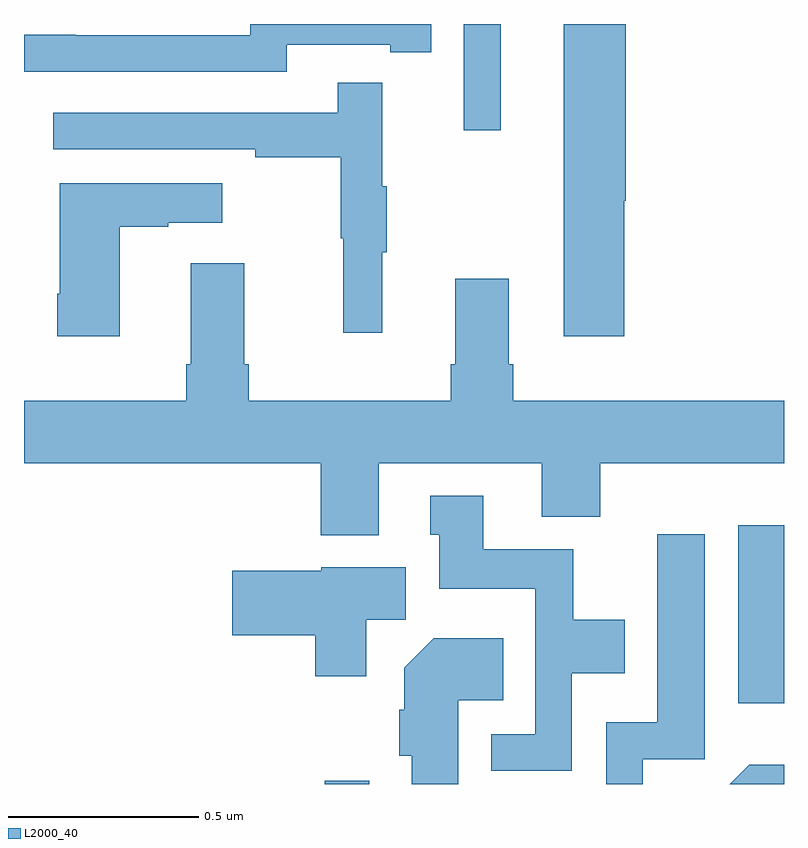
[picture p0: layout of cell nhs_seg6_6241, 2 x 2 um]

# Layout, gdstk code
import gdstk
lib = gdstk.Library(unit=1e-6, precision=1e-09)
def R(c, l, rs):  # rectangles x0, y0, x1, y1
    for r in rs: c.add(gdstk.rectangle(r[:2], r[2:], *l))
def P(c, l, *ps):  # polygons
    for p in ps: c.add(gdstk.Polygon(p, *l))
L2000_40 = (2000, 40)

nhs_seg6_6241 = lib.new_cell('nhs_seg6_6241')
R(nhs_seg6_6241, L2000_40, [(193.792,938.5,193.908,938.509), (194.879,938.712,195,939.181), (194.157,940.221,194.254,940.5)])
P(nhs_seg6_6241, L2000_40, [(194.579,940.035),(194.584,940.035),(194.584,940.5),(194.42,940.5),(194.42,939.678),(194.579,939.678)],
  [(193.692,940.446),(193.964,940.446),(193.964,940.426),(194.072,940.426),(194.072,940.5),(193.596,940.5),(193.596,940.47),(193.136,940.47),(193.136,940.472),(193,940.472),(193,940.374),(193.692,940.374)],
  [(193.943,939.899),(193.954,939.899),(193.954,940.073),(193.943,940.073),(193.943,940.345),(193.825,940.345),(193.825,940.266),(193.077,940.266),(193.077,940.17),(193.609,940.17),(193.609,940.15),(193.833,940.15),(193.833,939.936),(193.84,939.936),(193.84,939.687),(193.943,939.687)],
  [(193.252,939.967),(193.379,939.967),(193.379,939.977),(193.522,939.977),(193.522,940.081),(193.094,940.081),(193.094,939.79),(193.087,939.79),(193.087,939.678),(193.252,939.678)],
  [(193.933,939.344),(194.363,939.344),(194.363,939.203),(194.516,939.203),(194.516,939.344),(195,939.344),(195,939.508),(194.288,939.508),(194.288,939.604),(194.275,939.604),(194.275,939.829),(194.135,939.829),(194.135,939.604),(194.123,939.604),(194.123,939.508),(193.592,939.508),(193.592,939.604),(193.579,939.604),(193.579,939.871),(193.439,939.871),(193.439,939.604),(193.427,939.604),(193.427,939.508),(193,939.508),(193,939.344),(193.781,939.344),(193.781,939.155),(193.933,939.155)],
  [(194.442,938.792),(194.581,938.792),(194.581,938.932),(194.445,938.932),(194.445,939.118),(194.209,939.118),(194.209,939.259),(194.069,939.259),(194.069,939.156),(194.093,939.156),(194.093,939.014),(194.346,939.014),(194.346,938.631),(194.229,938.631),(194.229,938.535),(194.442,938.535)],
  [(194.628,938.565),(194.791,938.565),(194.791,939.157),(194.666,939.157),(194.666,938.662),(194.532,938.662),(194.532,938.5),(194.628,938.5)],
  [(193.9,938.932),(194.005,938.932),(194.005,939.07),(193.782,939.07),(193.782,939.061),(193.548,939.061),(193.548,938.891),(193.766,938.891),(193.766,938.784),(193.9,938.784)],
  [(194.143,938.72),(194.261,938.72),(194.261,938.884),(194.078,938.884),(194,938.806),(194,938.696),(193.988,938.696),(193.988,938.574),(194.021,938.574),(194.021,938.5),(194.143,938.5)],
  [(195,938.551),(194.908,938.551),(194.857,938.5),(195,938.5)])

lib.write_gds('nhs_seg6_6241.gds')
